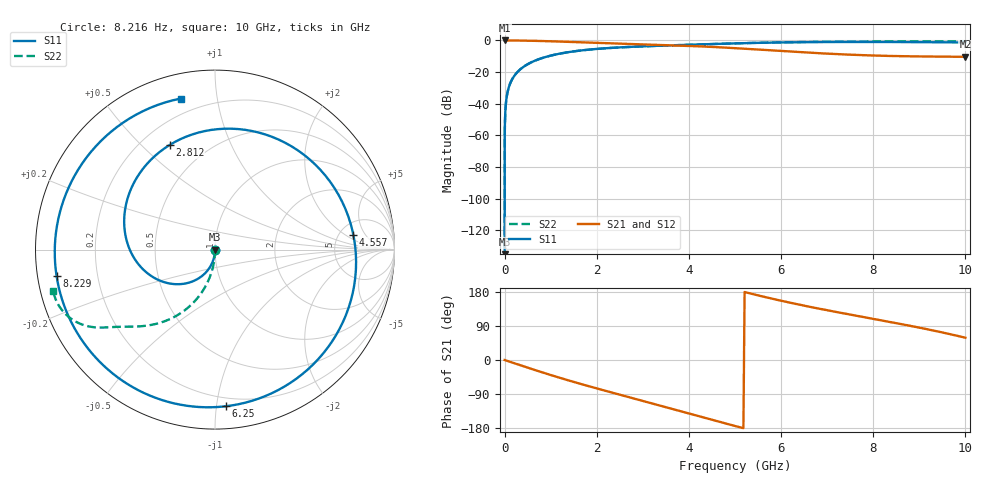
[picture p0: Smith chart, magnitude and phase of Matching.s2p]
! Created Thu Feb 22 09:43:26 2024
! List of port names and net name(s): example Port n = <port_name> <net_name1> <net_name2> ...
! Port 1 = P1 P1
! Port 2 = R R
# hz S ma R 50
! 2 Port Network Data from data block
! freq  magS11  angS11  magS21  angS21  magS12  angS12  magS22  angS22
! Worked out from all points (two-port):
!   504 points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, 8.216 Hz to 10 GHz, reference 50 ohm
!   highest |S21| = 0.00 dB at 8.216 Hz (marker M1); lowest = -10.3 dB at 10 GHz (marker M2)
!   |S21| within 3 dB of the highest: start of sweep to 3.595 GHz
!   lowest |S11| = -170.5 dB at 8.216 Hz (marker M3), VSWR 1.00, Z = 50 - j2.99e-07 ohm
!   |S11| at or under -10 dB: start of sweep to 944.1 MHz
!   |S22| runs from -170.5 to -0.6 dB; largest |S21 - S12| = 0
!   S11 on the Smith chart (normalised r, x): 8.216 Hz: 1.00, -0.00; 2.812 GHz: 0.31, +0.61; 4.557 GHz: 6.74, +2.77; 6.25 GHz: 0.14, -1.06; 8.229 GHz: 0.06, -0.08; 10 GHz: 0.12, +0.79
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8.21559  2.991e-09 -90.0  1 -0.0  1 -0.0  2.996e-09 -90.0
1034282  0.0003765 -90.1  1 -0.0  1 -0.0  0.0003772 -90.0
2063663  0.0007512 -90.1  1 -0.1  1 -0.1  0.0007526 -90.1
6525875  0.002376 -90.4  0.9999 -0.3  0.9999 -0.3  0.00238 -90.2
1.643118e7  0.005981 -90.9  0.9996 -0.7  0.9996 -0.7  0.005992 -90.4
3.190648e7  0.01161 -91.8  0.9994 -1.3  0.9994 -1.3  0.01163 -90.8
9.114583e7  0.03315 -95.2  0.9989 -3.7  0.9989 -3.7  0.03321 -92.3
1.953125e8  0.07082 -101.2  0.9969 -8.0  0.9969 -8.0  0.07092 -94.9
7.03125e8  0.244 -129.9  0.9691 -28.2  0.9691 -28.2  0.2438 -106.8
1.692708e9  0.4895 175.8  0.8704 -64.5  0.8704 -64.5  0.4892 -125.2
2.8125e9  0.6352 113.5  0.7688 -101.7  0.7688 -101.7  0.6344 -137.4
3.359375e9  0.6816 80.9  0.7266 -119.8  0.7266 -119.8  0.6806 -140.8
3.90625e9  0.7244 46.8  0.6819 -138.1  0.6819 -138.1  0.7234 -143.3
4.557292e9  0.7753 6.1  0.6192 -159.8  0.6192 -159.8  0.7754 -145.9
5.026042e9  0.8101 -22.0  0.5685 -175.0  0.5685 -175.0  0.8119 -148.0
5.651042e9  0.849 -56.5  0.5001 166.2  0.5001 166.2  0.8541 -150.9
6.25e9  0.875 -86.2  0.4411 149.8  0.4411 149.8  0.8845 -153.8
6.666667e9  0.8866 -105.1  0.4066 139.3  0.4066 139.3  0.9 -155.7
8.229167e9  0.8948 -170.6  0.3274 103.4  0.3274 103.4  0.9279 -161.6
8.359375e9  0.8936 -176.2  0.3239 100.5  0.3239 100.5  0.9288 -161.9
9.166667e9  0.8819 147.1  0.3107 81.3  0.3107 81.3  0.9308 -164.0
1e10  0.863 102.8  0.3047 58.7  0.3047 58.7  0.9298 -165.6
